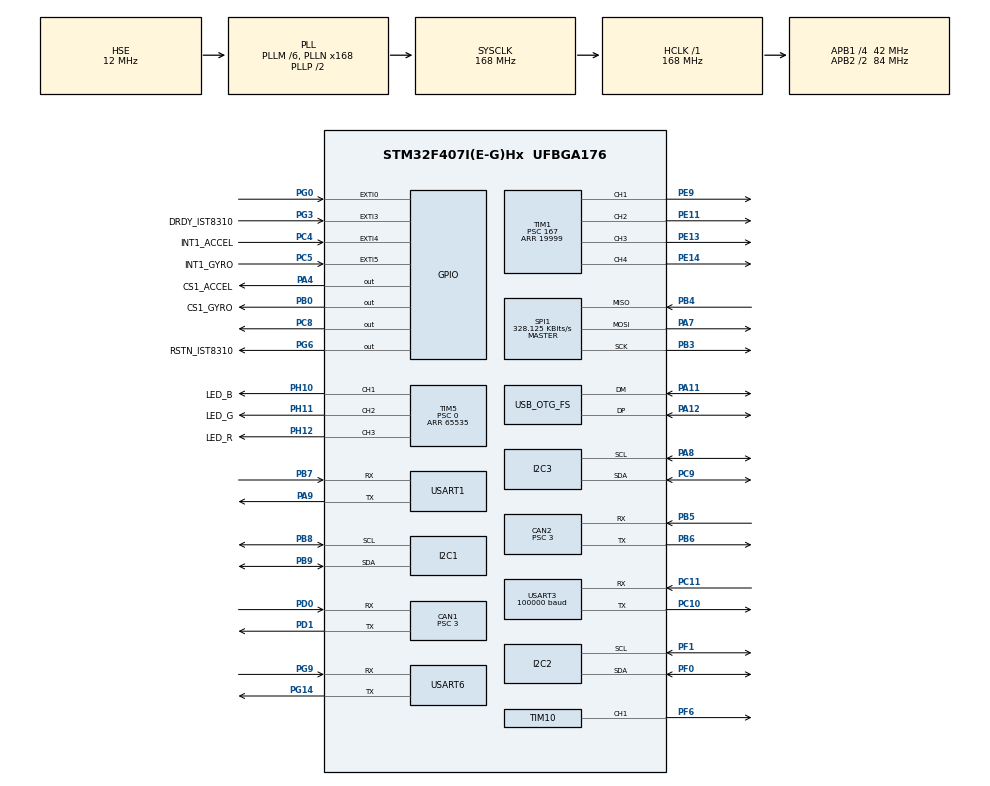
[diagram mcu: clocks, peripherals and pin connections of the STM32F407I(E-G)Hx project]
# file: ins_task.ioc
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CAN1.BS1=CAN_BS1_10TQ
CAN1.BS2=CAN_BS2_3TQ
CAN1.CalculateBaudRate=1000000
CAN1.CalculateTimeBit=999.99
CAN1.CalculateTimeQuantum=71.42857142857143
CAN1.Prescaler=3
CAN2.BS1=CAN_BS1_10TQ
CAN2.BS2=CAN_BS2_3TQ
CAN2.CalculateBaudRate=1000000
CAN2.CalculateTimeBit=999.99
CAN2.CalculateTimeQuantum=71.42857142857143
CAN2.Prescaler=3
Dma.I2C2_TX.6.Direction=DMA_MEMORY_TO_PERIPH
Dma.I2C2_TX.6.FIFOMode=DMA_FIFOMODE_DISABLE
Dma.I2C2_TX.6.Instance=DMA1_Stream7
Dma.I2C2_TX.6.MemDataAlignment=DMA_MDATAALIGN_BYTE
Dma.I2C2_TX.6.MemInc=DMA_MINC_ENABLE
Dma.I2C2_TX.6.Mode=DMA_NORMAL
Dma.I2C2_TX.6.PeriphDataAlignment=DMA_PDATAALIGN_BYTE
Dma.I2C2_TX.6.PeriphInc=DMA_PINC_DISABLE
Dma.I2C2_TX.6.Priority=DMA_PRIORITY_HIGH
Dma.Request0=SPI1_RX
Dma.Request1=SPI1_TX
Dma.Request2=USART1_TX
Dma.Request3=USART3_RX
Dma.Request4=USART6_RX
Dma.Request5=USART6_TX
Dma.Request6=I2C2_TX
Dma.Request7=USART1_RX
Dma.SPI1_RX.0.Direction=DMA_PERIPH_TO_MEMORY
Dma.SPI1_RX.0.FIFOMode=DMA_FIFOMODE_DISABLE
Dma.SPI1_RX.0.Instance=DMA2_Stream2
Dma.SPI1_RX.0.MemDataAlignment=DMA_MDATAALIGN_BYTE
Dma.SPI1_RX.0.MemInc=DMA_MINC_ENABLE
Dma.SPI1_RX.0.Mode=DMA_NORMAL
Dma.SPI1_RX.0.PeriphDataAlignment=DMA_PDATAALIGN_BYTE
Dma.SPI1_RX.0.PeriphInc=DMA_PINC_DISABLE
Dma.SPI1_RX.0.Priority=DMA_PRIORITY_VERY_HIGH
Dma.SPI1_TX.1.Direction=DMA_MEMORY_TO_PERIPH
Dma.SPI1_TX.1.FIFOMode=DMA_FIFOMODE_DISABLE
Dma.SPI1_TX.1.Instance=DMA2_Stream3
Dma.SPI1_TX.1.MemDataAlignment=DMA_MDATAALIGN_BYTE
Dma.SPI1_TX.1.MemInc=DMA_MINC_ENABLE
Dma.SPI1_TX.1.Mode=DMA_NORMAL
Dma.SPI1_TX.1.PeriphDataAlignment=DMA_PDATAALIGN_BYTE
Dma.SPI1_TX.1.PeriphInc=DMA_PINC_DISABLE
Dma.SPI1_TX.1.Priority=DMA_PRIORITY_HIGH
Dma.USART1_RX.7.Direction=DMA_PERIPH_TO_MEMORY
Dma.USART1_RX.7.FIFOMode=DMA_FIFOMODE_DISABLE
Dma.USART1_RX.7.Instance=DMA2_Stream5
Dma.USART1_RX.7.MemDataAlignment=DMA_MDATAALIGN_BYTE
Dma.USART1_RX.7.MemInc=DMA_MINC_ENABLE
Dma.USART1_RX.7.Mode=DMA_NORMAL
Dma.USART1_RX.7.PeriphDataAlignment=DMA_PDATAALIGN_BYTE
Dma.USART1_RX.7.PeriphInc=DMA_PINC_DISABLE
Dma.USART1_RX.7.Priority=DMA_PRIORITY_MEDIUM
Dma.USART1_TX.2.Direction=DMA_MEMORY_TO_PERIPH
Dma.USART1_TX.2.FIFOMode=DMA_FIFOMODE_DISABLE
Dma.USART1_TX.2.Instance=DMA2_Stream7
Dma.USART1_TX.2.MemDataAlignment=DMA_MDATAALIGN_BYTE
Dma.USART1_TX.2.MemInc=DMA_MINC_ENABLE
Dma.USART1_TX.2.Mode=DMA_NORMAL
Dma.USART1_TX.2.PeriphDataAlignment=DMA_PDATAALIGN_BYTE
Dma.USART1_TX.2.PeriphInc=DMA_PINC_DISABLE
Dma.USART1_TX.2.Priority=DMA_PRIORITY_MEDIUM
Dma.USART3_RX.3.Direction=DMA_PERIPH_TO_MEMORY
Dma.USART3_RX.3.FIFOMode=DMA_FIFOMODE_DISABLE
Dma.USART3_RX.3.Instance=DMA1_Stream1
Dma.USART3_RX.3.MemDataAlignment=DMA_MDATAALIGN_BYTE
Dma.USART3_RX.3.MemInc=DMA_MINC_ENABLE
Dma.USART3_RX.3.Mode=DMA_NORMAL
Dma.USART3_RX.3.PeriphDataAlignment=DMA_PDATAALIGN_BYTE
Dma.USART3_RX.3.PeriphInc=DMA_PINC_DISABLE
Dma.USART3_RX.3.Priority=DMA_PRIORITY_HIGH
Dma.USART6_RX.4.Direction=DMA_PERIPH_TO_MEMORY
Dma.USART6_RX.4.FIFOMode=DMA_FIFOMODE_DISABLE
Dma.USART6_RX.4.Instance=DMA2_Stream1
Dma.USART6_RX.4.MemDataAlignment=DMA_MDATAALIGN_BYTE
Dma.USART6_RX.4.MemInc=DMA_MINC_ENABLE
Dma.USART6_RX.4.Mode=DMA_NORMAL
Dma.USART6_RX.4.PeriphDataAlignment=DMA_PDATAALIGN_BYTE
Dma.USART6_RX.4.PeriphInc=DMA_PINC_DISABLE
Dma.USART6_RX.4.Priority=DMA_PRIORITY_HIGH
Dma.USART6_TX.5.Direction=DMA_MEMORY_TO_PERIPH
Dma.USART6_TX.5.FIFOMode=DMA_FIFOMODE_DISABLE
Dma.USART6_TX.5.Instance=DMA2_Stream6
Dma.USART6_TX.5.MemDataAlignment=DMA_MDATAALIGN_BYTE
Dma.USART6_TX.5.MemInc=DMA_MINC_ENABLE
Dma.USART6_TX.5.Mode=DMA_NORMAL
Dma.USART6_TX.5.PeriphDataAlignment=DMA_PDATAALIGN_BYTE
Dma.USART6_TX.5.PeriphInc=DMA_PINC_DISABLE
Dma.USART6_TX.5.Priority=DMA_PRIORITY_MEDIUM
FREERTOS.INCLUDE_eTaskGetState=1
FREERTOS.INCLUDE_pcTaskGetTaskName=1
FREERTOS.INCLUDE_uxTaskGetStackHighWaterMark=1
FREERTOS.INCLUDE_vTaskCleanUpResources=1
FREERTOS.INCLUDE_vTaskDelayUntil=1
FREERTOS.INCLUDE_xEventGroupSetBitFromISR=1
FREERTOS.INCLUDE_xQueueGetMutexHolder=1
FREERTOS.INCLUDE_xSemaphoreGetMutexHolder=1
FREERTOS.INCLUDE_xTaskAbortDelay=1
FREERTOS.INCLUDE_xTaskGetCurrentTaskHandle=1
FREERTOS.INCLUDE_xTaskGetHandle=1
FREERTOS.INCLUDE_xTimerPendFunctionCall=1
FREERTOS.Tasks01=test,24,128,test_task,As weak,NULL,Dynamic,NULL,NULL
FREERTOS.configTOTAL_HEAP_SIZE=24576
I2C1.I2C_Mode=I2C_Fast
I2C2.I2C_Mode=I2C_Fast
I2C3.I2C_Mode=I2C_Fast
Mcu.Family=STM32F4
Mcu.Name=STM32F407I(E-G)Hx
Mcu.Package=UFBGA176
NVIC.CAN1_RX0_IRQn=true\:5\:0\:false\:false\:true\:true\:true\:true
NVIC.CAN2_RX0_IRQn=true\:5\:0\:false\:false\:true\:true\:true\:true
NVIC.DMA1_Stream1_IRQn=true\:5\:0\:false\:false\:true\:true\:false\:true
NVIC.DMA1_Stream7_IRQn=true\:5\:0\:false\:false\:true\:true\:false\:true
NVIC.DMA2_Stream1_IRQn=true\:5\:0\:false\:false\:true\:true\:false\:true
NVIC.DMA2_Stream2_IRQn=true\:5\:0\:true\:false\:false\:true\:false\:true
NVIC.DMA2_Stream3_IRQn=true\:5\:0\:true\:false\:false\:true\:false\:true
NVIC.DMA2_Stream5_IRQn=true\:5\:0\:false\:false\:true\:true\:false\:true
NVIC.DMA2_Stream6_IRQn=true\:5\:0\:false\:false\:true\:true\:false\:true
NVIC.DMA2_Stream7_IRQn=true\:5\:0\:false\:false\:true\:true\:false\:true
NVIC.EXTI0_IRQn=true\:6\:0\:true\:false\:true\:true\:true\:true
NVIC.EXTI3_IRQn=true\:5\:0\:true\:false\:true\:true\:true\:true
NVIC.EXTI4_IRQn=true\:5\:0\:true\:false\:true\:true\:true\:true
NVIC.EXTI9_5_IRQn=true\:5\:0\:true\:false\:true\:true\:true\:true
NVIC.OTG_FS_IRQn=true\:5\:0\:false\:false\:true\:true\:true\:true
NVIC.PriorityGroup=NVIC_PRIORITYGROUP_4
NVIC.TIM8_TRG_COM_TIM14_IRQn=true\:15\:0\:false\:false\:true\:false\:false\:true
NVIC.TimeBase=TIM8_TRG_COM_TIM14_IRQn
NVIC.TimeBaseIP=TIM14
NVIC.USART1_IRQn=true\:5\:0\:false\:false\:true\:true\:true\:true
NVIC.USART3_IRQn=true\:5\:0\:false\:false\:true\:true\:true\:true
NVIC.USART6_IRQn=true\:5\:0\:false\:false\:true\:true\:true\:true
PA11.Mode=Device_Only
PA11.Signal=USB_OTG_FS_DM
PA12.Mode=Device_Only
PA12.Signal=USB_OTG_FS_DP
PA13.Mode=Serial_Wire
PA13.Signal=SYS_JTMS-SWDIO
PA14.Mode=Serial_Wire
PA14.Signal=SYS_JTCK-SWCLK
PA4.GPIO_Label=CS1_ACCEL
PA4.GPIO_PuPd=GPIO_PULLUP
PA4.GPIO_Speed=GPIO_SPEED_FREQ_HIGH
PA4.PinState=GPIO_PIN_SET
PA4.Signal=GPIO_Output
PA7.GPIO_PuPd=GPIO_PULLUP
PA7.Mode=Full_Duplex_Master
PA7.Signal=SPI1_MOSI
PA8.GPIO_Pu=GPIO_PULLUP
PA8.Mode=I2C
PA8.Signal=I2C3_SCL
PA9.Mode=Asynchronous
PA9.Signal=USART1_TX
PB0.GPIO_Label=CS1_GYRO
PB0.GPIO_PuPd=GPIO_PULLUP
PB0.GPIO_Speed=GPIO_SPEED_FREQ_HIGH
PB0.PinState=GPIO_PIN_SET
PB0.Signal=GPIO_Output
PB3.GPIO_PuPd=GPIO_PULLUP
PB3.Mode=Full_Duplex_Master
PB3.Signal=SPI1_SCK
PB4.GPIO_PuPd=GPIO_PULLUP
PB4.Mode=Full_Duplex_Master
PB4.Signal=SPI1_MISO
PB5.Mode=CAN_Activate
PB5.Signal=CAN2_RX
PB6.Mode=CAN_Activate
PB6.Signal=CAN2_TX
PB7.Mode=Asynchronous
PB7.Signal=USART1_RX
PB8.GPIO_Pu=GPIO_PULLUP
PB8.Mode=I2C
PB8.Signal=I2C1_SCL
PB9.GPIO_Pu=GPIO_PULLUP
PB9.Mode=I2C
PB9.Signal=I2C1_SDA
PC10.Mode=Asynchronous
PC10.Signal=USART3_TX
PC11.Mode=Asynchronous
PC11.Signal=USART3_RX
PC4.GPIO_Label=INT1_ACCEL
PC4.GPIO_ModeDefaultEXTI=GPIO_MODE_IT_FALLING
PC4.GPIO_PuPd=GPIO_PULLUP
PC4.Signal=GPXTI4
PC5.GPIO_Label=INT1_GYRO
PC5.GPIO_ModeDefaultEXTI=GPIO_MODE_IT_FALLING
PC5.GPIO_PuPd=GPIO_PULLUP
PC5.Signal=GPXTI5
PC8.Signal=GPIO_Output
PC9.GPIO_Pu=GPIO_PULLUP
PC9.Mode=I2C
PC9.Signal=I2C3_SDA
PD0.Mode=CAN_Activate
PD0.Signal=CAN1_RX
PD1.Mode=CAN_Activate
PD1.Signal=CAN1_TX
PE11.GPIO_Speed=GPIO_SPEED_FREQ_HIGH
PE11.Signal=S_TIM1_CH2
PE13.Signal=S_TIM1_CH3
PE14.Signal=S_TIM1_CH4
PE9.GPIO_Speed=GPIO_SPEED_FREQ_HIGH
PE9.Signal=S_TIM1_CH1
PF0.GPIO_Pu=GPIO_PULLUP
PF0.Mode=I2C
PF0.Signal=I2C2_SDA
PF1.GPIO_Pu=GPIO_PULLUP
PF1.Mode=I2C
PF1.Signal=I2C2_SCL
PF6.GPIO_PuPd=GPIO_PULLUP
PF6.GPIO_Speed=GPIO_SPEED_FREQ_HIGH
PF6.Signal=S_TIM10_CH1
PG0.GPIO_ModeDefaultEXTI=GPIO_MODE_IT_FALLING
PG0.GPIO_PuPd=GPIO_PULLUP
PG0.Signal=GPXTI0
PG14.Mode=Asynchronous
PG14.Signal=USART6_TX
PG3.GPIO_Label=DRDY_IST8310
PG3.GPIO_ModeDefaultEXTI=GPIO_MODE_IT_FALLING
PG3.GPIO_PuPd=GPIO_PULLUP
PG3.Signal=GPXTI3
PG6.GPIO_Label=RSTN_IST8310
PG6.GPIO_PuPd=GPIO_PULLUP
PG6.GPIO_Speed=GPIO_SPEED_FREQ_MEDIUM
PG6.PinState=GPIO_PIN_SET
PG6.Signal=GPIO_Output
PG9.Mode=Asynchronous
PG9.Signal=USART6_RX
PH0-OSC_IN.Mode=HSE-External-Oscillator
PH0-OSC_IN.Signal=RCC_OSC_IN
PH1-OSC_OUT.Mode=HSE-External-Oscillator
PH1-OSC_OUT.Signal=RCC_OSC_OUT
PH10.GPIO_Label=LED_B
PH10.GPIO_PuPd=GPIO_PULLUP
PH10.GPIO_Speed=GPIO_SPEED_FREQ_HIGH
PH10.Signal=S_TIM5_CH1
PH11.GPIO_Label=LED_G
PH11.GPIO_PuPd=GPIO_PULLUP
PH11.GPIO_Speed=GPIO_SPEED_FREQ_HIGH
PH11.Signal=S_TIM5_CH2
PH12.GPIO_Label=LED_R
PH12.GPIO_PuPd=GPIO_PULLUP
PH12.GPIO_Speed=GPIO_SPEED_FREQ_HIGH
PH12.Signal=S_TIM5_CH3
ProjectManager.HeapSize=0x2000
ProjectManager.StackSize=0x2000
ProjectManager.TargetToolchain=MDK-ARM V5
RCC.48MHZClocksFreq_Value=48000000
RCC.AHBFreq_Value=168000000
RCC.APB1CLKDivider=RCC_HCLK_DIV4
RCC.APB1Freq_Value=42000000
RCC.APB1TimFreq_Value=84000000
RCC.APB2CLKDivider=RCC_HCLK_DIV2
RCC.APB2Freq_Value=84000000
RCC.APB2TimFreq_Value=168000000
RCC.CortexFreq_Value=168000000
RCC.HCLKFreq_Value=168000000
RCC.HSE_VALUE=12000000
RCC.HSI_VALUE=16000000
RCC.LSE_VALUE=32768
RCC.PLLM=6
RCC.PLLN=168
RCC.PLLQ=7
RCC.RCC_RTC_Clock_SourceVirtual=RCC_RTCCLKSOURCE_HSE_DIV30
RCC.RCC_RTC_Clock_Source_FROM_HSE=RCC_RTCCLKSOURCE_HSE_DIV30
RCC.SYSCLKFreq_VALUE=168000000
RCC.SYSCLKSource=RCC_SYSCLKSOURCE_PLLCLK
RCC.VCOOutputFreq_Value=336000000
SH.S_TIM10_CH1.0=TIM10_CH1,PWM Generation1 CH1
SH.S_TIM1_CH1.0=TIM1_CH1,PWM Generation1 CH1
SH.S_TIM1_CH2.0=TIM1_CH2,PWM Generation2 CH2
SH.S_TIM1_CH3.0=TIM1_CH3,PWM Generation3 CH3
SH.S_TIM1_CH4.0=TIM1_CH4,PWM Generation4 CH4
SH.S_TIM5_CH1.0=TIM5_CH1,PWM Generation1 CH1
SH.S_TIM5_CH2.0=TIM5_CH2,PWM Generation2 CH2
SH.S_TIM5_CH3.0=TIM5_CH3,PWM Generation3 CH3
SPI1.BaudRatePrescaler=SPI_BAUDRATEPRESCALER_256
SPI1.CLKPhase=SPI_PHASE_2EDGE
SPI1.CLKPolarity=SPI_POLARITY_HIGH
SPI1.CalculateBaudRate=328.125 KBits/s
SPI1.Direction=SPI_DIRECTION_2LINES
SPI1.Mode=SPI_MODE_MASTER
SPI1.VirtualType=VM_MASTER
TIM1.Channel-PWM\ Generation1\ CH1=TIM_CHANNEL_1
TIM1.Channel-PWM\ Generation2\ CH2=TIM_CHANNEL_2
TIM1.Channel-PWM\ Generation3\ CH3=TIM_CHANNEL_3
TIM1.Channel-PWM\ Generation4\ CH4=TIM_CHANNEL_4
TIM1.Period=19999
TIM1.Prescaler=167
TIM1.Pulse-PWM\ Generation1\ CH1=1000
TIM1.Pulse-PWM\ Generation2\ CH2=1000
TIM1.Pulse-PWM\ Generation3\ CH3=1000
TIM1.Pulse-PWM\ Generation4\ CH4=1000
TIM10.Channel=TIM_CHANNEL_1
TIM10.Period=4999
TIM5.Channel-PWM\ Generation1\ CH1=TIM_CHANNEL_1
TIM5.Channel-PWM\ Generation2\ CH2=TIM_CHANNEL_2
TIM5.Channel-PWM\ Generation3\ CH3=TIM_CHANNEL_3
TIM5.Period=65535
TIM5.Prescaler=0
USART1.VirtualMode=VM_ASYNC
USART3.BaudRate=100000
USART3.Parity=PARITY_EVEN
USART3.VirtualMode=VM_ASYNC
USART6.VirtualMode=VM_ASYNC
USB_DEVICE.CLASS_NAME_FS=CDC
USB_DEVICE.VirtualMode-CDC_FS=Cdc
USB_DEVICE.VirtualModeFS=Cdc_FS
USB_OTG_FS.VirtualMode=Device_Only
VP_CRC_VS_CRC.Mode=CRC_Activate
VP_FREERTOS_VS_CMSIS_V1.Mode=CMSIS_V1
VP_SYS_VS_tim14.Mode=TIM14
VP_TIM10_VS_ClockSourceINT.Mode=Enable_Timer
VP_TIM1_VS_ClockSourceINT.Mode=Internal
VP_TIM5_VS_ClockSourceINT.Mode=Internal
VP_USB_DEVICE_VS_USB_DEVICE_CDC_FS.Mode=CDC_FS
board=custom

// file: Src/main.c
/* USER CODE BEGIN Header */
/**
  ******************************************************************************
  * @file           : main.c
  * @brief          : Main program body
  ******************************************************************************
  * @attention
  *
  * <h2><center>&copy; Copyright (c) 2019 STMicroelectronics.
  * All rights reserved.</center></h2>
  *
  * This software component is licensed by ST under Ultimate Liberty license
  * SLA0044, the "License"; You may not use this file except in compliance with
  * the License. You may obtain a copy of the License at:
  *                             www.st.com/SLA0044
  *
  ******************************************************************************
  */
/* USER CODE END Header */
#include "main.h"
#include "cmsis_os.h"
#include "can.h"
#include "crc.h"
#include "dma.h"
#include "i2c.h"
#include "spi.h"
#include "tim.h"
#include "usart.h"
#include "usb_device.h"
#include "gpio.h"

/* USER CODE BEGIN Includes */
#include "bsp_delay.h"
#include "INS_task.h"
#include "bsp_can.h"
#include "CAN_receive.h"
#include "pid.h"
#include "MOTOR_ANGLE_PID.h"
#include "remote_control.h"
#include "bsp_usart.h"
#include "referee.h"

/* USER CODE END Includes */

/* USER CODE BEGIN PTD */
//typedef struct
//{
//  const fp32 *chassis_INS_angle;
//}chassis_move_t;
//
//chassis_move_t *chassis_move_init;
/* USER CODE END PTD */

void SystemClock_Config(void);
void MX_FREERTOS_Init(void);

int main(void)
{

  /* MCU Configuration--------------------------------------------------------*/

  /* Reset of all peripherals, Initializes the Flash interface and the Systick. */
  HAL_Init();

  /* Configure the system clock */
  SystemClock_Config();

  /* Initialize all configured peripherals */
  MX_GPIO_Init();
  MX_DMA_Init();
  MX_SPI1_Init();
  MX_TIM5_Init();
  MX_I2C3_Init();
  MX_TIM10_Init();
  MX_CAN1_Init();
  MX_CAN2_Init();
  MX_USART1_UART_Init();
  MX_USART3_UART_Init();
  MX_USART6_UART_Init();
  MX_I2C1_Init();
  MX_I2C2_Init();
  MX_CRC_Init();
  MX_TIM1_Init();
  /* USER CODE BEGIN 2 */
    delay_init();
		can_filter_init();
		remote_control_init();

	/* 开启空闲中断 */
	__HAL_UART_ENABLE_IT(&huart6, UART_IT_IDLE);
	HAL_UART_Receive_DMA(&huart6, referee_buff, 256);

  /* USER CODE END 2 */

  /* Call init function for freertos objects (in freertos.c) */
  MX_FREERTOS_Init();
  /* Start scheduler */
  osKernelStart();

  /* We should never get here as control is now taken by the scheduler */
  /* Infinite loop */
  while (1)
  {

    /* USER CODE BEGIN 3 */
		__HAL_TIM_SET_COMPARE(&htim1,TIM_CHANNEL_2,1000);

	}
  /* USER CODE END 3 */
}

void SystemClock_Config(void)
{
  RCC_OscInitTypeDef RCC_OscInitStruct = {0};
  RCC_ClkInitTypeDef RCC_ClkInitStruct = {0};

  /** Configure the main internal regulator output voltage
  */
  __HAL_RCC_PWR_CLK_ENABLE();
  __HAL_PWR_VOLTAGESCALING_CONFIG(PWR_REGULATOR_VOLTAGE_SCALE1);
  /** Initializes the RCC Oscillators according to the specified parameters
  * in the RCC_OscInitTypeDef structure.
  */
  RCC_OscInitStruct.OscillatorType = RCC_OSCILLATORTYPE_HSE;
  RCC_OscInitStruct.HSEState = RCC_HSE_ON;
  RCC_OscInitStruct.PLL.PLLState = RCC_PLL_ON;
  RCC_OscInitStruct.PLL.PLLSource = RCC_PLLSOURCE_HSE;
  RCC_OscInitStruct.PLL.PLLM = 6;
  RCC_OscInitStruct.PLL.PLLN = 168;
  RCC_OscInitStruct.PLL.PLLP = RCC_PLLP_DIV2;
  RCC_OscInitStruct.PLL.PLLQ = 7;
  if (HAL_RCC_OscConfig(&RCC_OscInitStruct) != HAL_OK)
  {
    Error_Handler();
  }
  /** Initializes the CPU, AHB and APB buses clocks
  */
  RCC_ClkInitStruct.ClockType = RCC_CLOCKTYPE_HCLK|RCC_CLOCKTYPE_SYSCLK
                              |RCC_CLOCKTYPE_PCLK1|RCC_CLOCKTYPE_PCLK2;
  RCC_ClkInitStruct.SYSCLKSource = RCC_SYSCLKSOURCE_PLLCLK;
  RCC_ClkInitStruct.AHBCLKDivider = RCC_SYSCLK_DIV1;
  RCC_ClkInitStruct.APB1CLKDivider = RCC_HCLK_DIV4;
  RCC_ClkInitStruct.APB2CLKDivider = RCC_HCLK_DIV2;

  if (HAL_RCC_ClockConfig(&RCC_ClkInitStruct, FLASH_LATENCY_5) != HAL_OK)
  {
    Error_Handler();
  }
}

void HAL_TIM_PeriodElapsedCallback(TIM_HandleTypeDef *htim)
{
  if (htim->Instance == TIM14) {
    HAL_IncTick();
  }
}

void Error_Handler(void)
{
}

/************************ (C) COPYRIGHT STMicroelectronics *****END OF FILE****/
